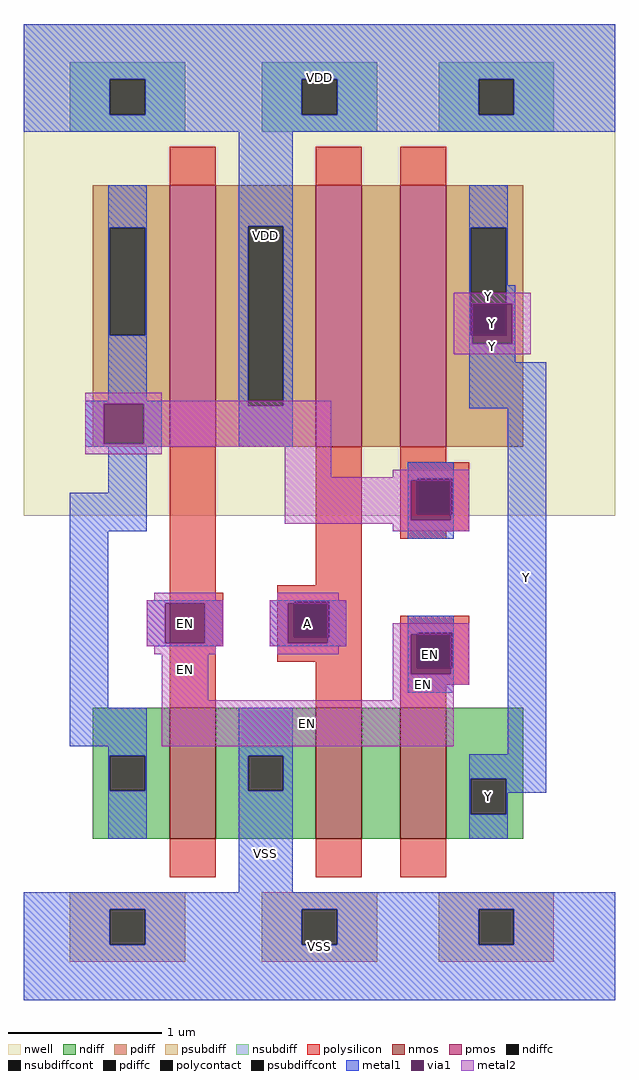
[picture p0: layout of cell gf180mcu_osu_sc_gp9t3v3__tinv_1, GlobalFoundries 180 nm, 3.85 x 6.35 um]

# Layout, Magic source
magic
tech gf180mcuA
magscale 1 10
<< nwell >>
rect 0 630 770 1270
<< nmos >>
rect 190 210 250 380
rect 380 210 440 380
rect 490 210 550 380
<< pmos >>
rect 190 720 250 1060
rect 380 720 440 1060
rect 490 720 550 1060
<< ndiff >>
rect 90 318 190 380
rect 90 272 112 318
rect 158 272 190 318
rect 90 210 190 272
rect 250 318 380 380
rect 250 272 292 318
rect 338 272 380 318
rect 250 210 380 272
rect 440 210 490 380
rect 550 288 650 380
rect 550 242 582 288
rect 628 242 650 288
rect 550 210 650 242
<< pdiff >>
rect 90 1005 190 1060
rect 90 865 112 1005
rect 158 865 190 1005
rect 90 720 190 865
rect 250 1007 380 1060
rect 250 773 292 1007
rect 338 773 380 1007
rect 250 720 380 773
rect 440 720 490 1060
rect 550 1005 650 1060
rect 550 865 582 1005
rect 628 865 650 1005
rect 550 720 650 865
<< ndiffc >>
rect 112 272 158 318
rect 292 272 338 318
rect 582 242 628 288
<< pdiffc >>
rect 112 865 158 1005
rect 292 773 338 1007
rect 582 865 628 1005
<< psubdiff >>
rect 60 118 210 140
rect 60 72 112 118
rect 158 72 210 118
rect 60 50 210 72
rect 310 118 460 140
rect 310 72 362 118
rect 408 72 460 118
rect 310 50 460 72
rect 540 118 690 140
rect 540 72 592 118
rect 638 72 690 118
rect 540 50 690 72
<< nsubdiff >>
rect 60 1198 210 1220
rect 60 1152 112 1198
rect 158 1152 210 1198
rect 60 1130 210 1152
rect 310 1198 460 1220
rect 310 1152 362 1198
rect 408 1152 460 1198
rect 310 1130 460 1152
rect 540 1198 690 1220
rect 540 1152 592 1198
rect 638 1152 690 1198
rect 540 1130 690 1152
<< psubdiffcont >>
rect 112 72 158 118
rect 362 72 408 118
rect 592 72 638 118
<< nsubdiffcont >>
rect 112 1152 158 1198
rect 362 1152 408 1198
rect 592 1152 638 1198
<< polysilicon >>
rect 190 1060 250 1110
rect 380 1060 440 1110
rect 490 1060 550 1110
rect 190 530 250 720
rect 380 540 440 720
rect 490 700 550 720
rect 490 678 580 700
rect 490 632 512 678
rect 558 632 580 678
rect 490 610 580 632
rect 490 600 550 610
rect 190 460 260 530
rect 330 518 440 540
rect 330 472 352 518
rect 398 472 440 518
rect 190 380 250 460
rect 330 440 440 472
rect 380 380 440 440
rect 490 478 580 500
rect 490 432 512 478
rect 558 432 580 478
rect 490 410 580 432
rect 490 380 550 410
rect 190 160 250 210
rect 380 160 440 210
rect 490 160 550 210
<< polycontact >>
rect 512 632 558 678
rect 352 472 398 518
rect 512 432 558 478
<< metal1 >>
rect 0 1198 770 1270
rect 0 1152 112 1198
rect 158 1152 362 1198
rect 408 1152 592 1198
rect 638 1152 770 1198
rect 0 1130 770 1152
rect 110 1005 160 1060
rect 110 865 112 1005
rect 158 865 160 1005
rect 110 780 160 865
rect 280 1007 350 1130
rect 80 776 180 780
rect 80 724 104 776
rect 156 724 180 776
rect 80 720 180 724
rect 280 773 292 1007
rect 338 773 350 1007
rect 280 720 350 773
rect 580 1005 630 1060
rect 580 865 582 1005
rect 628 930 630 1005
rect 628 906 640 930
rect 580 854 584 865
rect 636 854 640 906
rect 580 830 640 854
rect 580 770 680 830
rect 110 660 160 720
rect 60 610 160 660
rect 500 678 560 700
rect 500 676 512 678
rect 500 624 504 676
rect 558 632 560 678
rect 556 624 560 632
rect 60 380 110 610
rect 500 600 560 624
rect 160 516 260 520
rect 160 464 184 516
rect 236 464 260 516
rect 160 460 260 464
rect 320 518 420 520
rect 320 516 352 518
rect 320 464 344 516
rect 398 472 420 518
rect 396 464 420 472
rect 320 460 420 464
rect 500 478 560 500
rect 500 476 512 478
rect 500 424 504 476
rect 558 432 560 478
rect 556 424 560 432
rect 500 400 560 424
rect 60 330 160 380
rect 110 318 160 330
rect 110 272 112 318
rect 158 272 160 318
rect 110 210 160 272
rect 280 318 350 380
rect 630 320 680 770
rect 280 272 292 318
rect 338 272 350 318
rect 280 140 350 272
rect 580 288 680 320
rect 580 242 582 288
rect 628 270 680 288
rect 628 242 630 270
rect 580 210 630 242
rect 0 118 770 140
rect 0 72 112 118
rect 158 72 362 118
rect 408 72 592 118
rect 638 72 770 118
rect 0 0 770 72
<< via1 >>
rect 104 724 156 776
rect 584 865 628 906
rect 628 865 636 906
rect 584 854 636 865
rect 504 632 512 676
rect 512 632 556 676
rect 504 624 556 632
rect 184 464 236 516
rect 344 472 352 516
rect 352 472 396 516
rect 344 464 396 472
rect 504 432 512 476
rect 512 432 556 476
rect 504 424 556 432
<< metal2 >>
rect 560 906 660 920
rect 560 854 584 906
rect 636 854 660 906
rect 560 840 660 854
rect 80 780 180 790
rect 80 776 400 780
rect 80 724 104 776
rect 156 724 400 776
rect 80 720 400 724
rect 80 710 180 720
rect 340 680 400 720
rect 480 680 580 690
rect 340 676 580 680
rect 340 624 504 676
rect 556 624 580 676
rect 340 620 580 624
rect 480 610 580 620
rect 170 520 250 530
rect 330 520 410 530
rect 160 516 260 520
rect 160 464 184 516
rect 236 464 260 516
rect 160 460 260 464
rect 320 516 420 520
rect 320 464 344 516
rect 396 464 420 516
rect 320 460 420 464
rect 480 476 580 490
rect 170 450 250 460
rect 330 450 410 460
rect 180 390 240 450
rect 480 424 504 476
rect 556 424 580 476
rect 480 410 580 424
rect 480 390 560 410
rect 180 330 560 390
<< labels >>
rlabel via1 s 344 464 396 516 4 A
port 1 nsew signal input
rlabel via1 s 584 854 636 906 4 Y
port 2 nsew signal output
rlabel via1 s 504 424 556 476 4 EN
port 3 nsew signal input
rlabel metal1 s 280 720 350 1270 4 VDD
port 4 nsew power bidirectional abutment
rlabel metal1 s 280 0 350 380 4 VSS
port 5 nsew ground bidirectional abutment
rlabel metal1 s 0 1130 770 1270 1 VDD
port 4 nsew power bidirectional abutment
rlabel metal1 s 0 0 770 140 1 VSS
port 5 nsew ground bidirectional abutment
rlabel metal2 s 330 450 410 530 1 A
port 1 nsew signal input
rlabel metal2 s 320 460 420 520 1 A
port 1 nsew signal input
rlabel metal1 s 320 460 420 520 1 A
port 1 nsew signal input
rlabel via1 s 184 464 236 516 1 EN
port 3 nsew signal input
rlabel metal2 s 180 330 240 530 1 EN
port 3 nsew signal input
rlabel metal2 s 170 450 250 530 1 EN
port 3 nsew signal input
rlabel metal2 s 160 460 260 520 1 EN
port 3 nsew signal input
rlabel metal2 s 180 330 560 390 1 EN
port 3 nsew signal input
rlabel metal2 s 480 330 560 490 1 EN
port 3 nsew signal input
rlabel metal2 s 480 410 580 490 1 EN
port 3 nsew signal input
rlabel metal1 s 160 460 260 520 1 EN
port 3 nsew signal input
rlabel metal1 s 500 400 560 500 1 EN
port 3 nsew signal input
rlabel metal2 s 560 840 660 920 1 Y
port 2 nsew signal output
rlabel metal1 s 580 210 630 320 1 Y
port 2 nsew signal output
rlabel metal1 s 580 770 630 1060 1 Y
port 2 nsew signal output
rlabel metal1 s 580 770 640 930 1 Y
port 2 nsew signal output
rlabel metal1 s 630 270 680 830 1 Y
port 2 nsew signal output
<< properties >>
string FIXED_BBOX 0 0 770 1270
string GDS_END 378926
string GDS_FILE $PDKPATH/libs.ref/gf180mcu_osu_sc_gp9t3v3/gds/gf180mcu_osu_sc_gp9t3v3.gds
string GDS_START 372712
string LEFclass CORE
string LEFsite gf180mcu_osu_sc_gp9t3v3
string LEFsymmetry X Y
<< end >>
